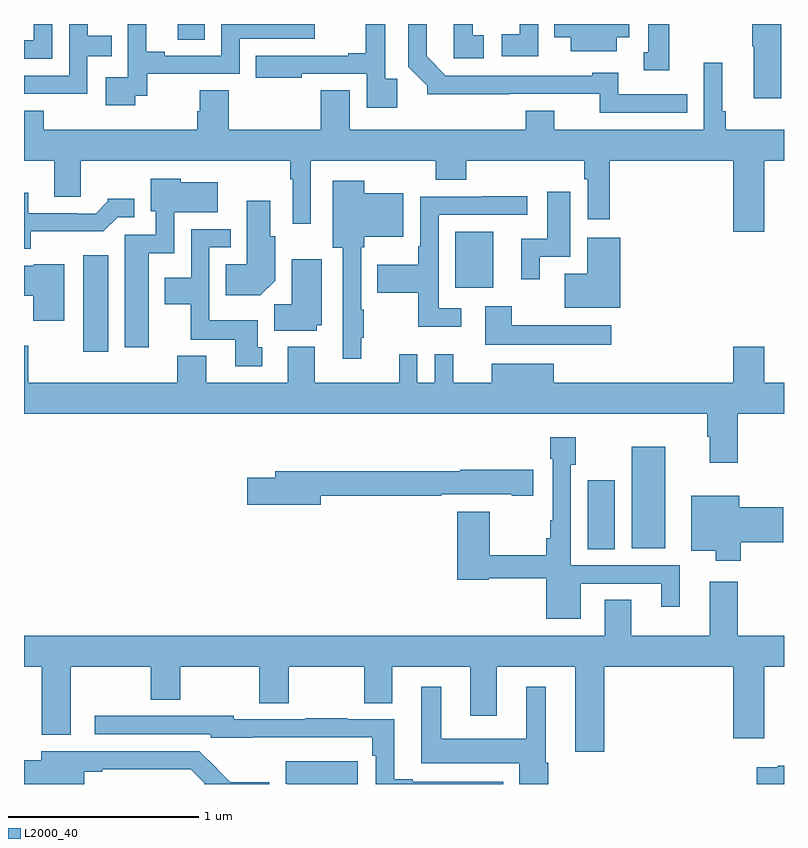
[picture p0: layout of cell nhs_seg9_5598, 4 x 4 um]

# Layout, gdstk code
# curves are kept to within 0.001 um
import gdstk
lib = gdstk.Library(unit=1e-6, precision=1e-09)
def R(c, l, rs):  # rectangles x0, y0, x1, y1
    for r in rs: c.add(gdstk.rectangle(r[:2], r[2:], *l))
def P(c, l, *ps):  # polygons
    for p in ps: c.add(gdstk.Polygon(p, *l))
L2000_40 = (2000, 40)

nhs_seg9_5598 = lib.new_cell('nhs_seg9_5598')
R(nhs_seg9_5598, L2000_40, [(439.967,1167.736,440.11,1168.099), (440.198,1167.74,440.374,1168.276), (437.312,1168.776,437.443,1169.284), (439.271,1169.111,439.471,1169.407), (437.81,1170.418,437.95,1170.5)])
P(nhs_seg9_5598, L2000_40, [(439.42,1170.441),(439.362,1170.441),(439.362,1170.5),(439.262,1170.5),(439.262,1170.321),(439.42,1170.321)],
  [(440.986,1170.5),(440.833,1170.5),(440.833,1170.382),(440.84,1170.382),(440.84,1170.108),(440.986,1170.108)],
  [(439.707,1170.5),(439.609,1170.5),(439.609,1170.446),(439.515,1170.446),(439.515,1170.33),(439.707,1170.33)],
  [(440.395,1170.5),(440.286,1170.5),(440.286,1170.351),(440.261,1170.351),(440.261,1170.257),(440.395,1170.257)],
  [(437.586,1170.123),(437.648,1170.123),(437.648,1170.237),(438.135,1170.237),(438.135,1170.423),(438.53,1170.423),(438.53,1170.5),(438.039,1170.5),(438.039,1170.333),(437.74,1170.333),(437.74,1170.353),(437.644,1170.353),(437.644,1170.5),(437.547,1170.5),(437.547,1170.219),(437.43,1170.219),(437.43,1170.072),(437.586,1170.072)],
  [(438.965,1170.211),(438.9,1170.211),(438.9,1170.5),(438.799,1170.5),(438.799,1170.346),(438.707,1170.346),(438.707,1170.333),(438.22,1170.333),(438.22,1170.218),(438.463,1170.218),(438.463,1170.237),(438.804,1170.237),(438.804,1170.06),(438.965,1170.06)],
  [(440.492,1170.129),(440.128,1170.129),(440.128,1170.244),(439.992,1170.244),(439.992,1170.228),(439.221,1170.228),(439.12,1170.329),(439.12,1170.5),(439.023,1170.5),(439.023,1170.274),(439.122,1170.175),(439.122,1170.131),(440.029,1170.132),(440.029,1170.033),(440.492,1170.033)],
  [(437.148,1170.5),(437.052,1170.5),(437.052,1170.414),(437,1170.414),(437,1170.318),(437.148,1170.318)],
  [(440.119,1170.431),(440.185,1170.431),(440.185,1170.5),(439.792,1170.5),(439.792,1170.431),(439.877,1170.431),(439.877,1170.356),(440.119,1170.356)],
  [(437.334,1170.33),(437.462,1170.33),(437.462,1170.439),(437.335,1170.439),(437.335,1170.5),(437.238,1170.5),(437.238,1170.228),(437,1170.228),(437,1170.132),(437.334,1170.132)],
  [(438.402,1169.684),(438.414,1169.684),(438.414,1169.448),(438.51,1169.448),(438.51,1169.78),(439.168,1169.78),(439.168,1169.681),(439.328,1169.681),(439.328,1169.78),(439.948,1169.78),(439.948,1169.684),(439.968,1169.684),(439.968,1169.472),(440.084,1169.472),(440.084,1169.78),(440.732,1169.78),(440.732,1169.406),(440.896,1169.406),(440.896,1169.78),(441,1169.78),(441,1169.944),(440.693,1169.944),(440.693,1170.04),(440.674,1170.04),(440.674,1170.295),(440.577,1170.295),(440.577,1169.944),(439.792,1169.944),(439.792,1170.043),(439.64,1170.043),(439.64,1169.944),(438.715,1169.944),(438.715,1170.152),(438.563,1170.152),(438.563,1169.944),(438.077,1169.944),(438.077,1170.152),(437.924,1170.152),(437.924,1170.042),(437.912,1170.042),(437.912,1169.944),(437.105,1169.944),(437.105,1170.043),(437,1170.043),(437,1169.78),(437.159,1169.78),(437.159,1169.59),(437.299,1169.59),(437.299,1169.78),(438.402,1169.78)],
  [(437.656,1169.294),(437.79,1169.294),(437.79,1169.51),(438.019,1169.51),(438.019,1169.668),(437.826,1169.668),(437.826,1169.686),(437.666,1169.686),(437.666,1169.514),(437.694,1169.514),(437.694,1169.391),(437.531,1169.391),(437.531,1168.8),(437.656,1168.8)],
  [(438.776,1168.849),(438.787,1168.849),(438.787,1168.997),(438.774,1168.997),(438.774,1169.325),(438.792,1169.325),(438.792,1169.381),(438.997,1169.381),(438.997,1169.608),(438.792,1169.608),(438.792,1169.674),(438.626,1169.674),(438.626,1169.323),(438.678,1169.323),(438.678,1168.737),(438.776,1168.737)],
  [(439.714,1169.274),(439.876,1169.274),(439.876,1169.617),(439.754,1169.617),(439.754,1169.37),(439.616,1169.37),(439.616,1169.157),(439.714,1169.157)],
  [(437.036,1169.408),(437.417,1169.408),(437.493,1169.484),(437.581,1169.484),(437.581,1169.581),(437.442,1169.581),(437.442,1169.566),(437.378,1169.502),(437.279,1169.502),(437.279,1169.505),(437.023,1169.505),(437.023,1169.611),(437,1169.611),(437,1169.316),(437.036,1169.316)],
  [(439.3,1169.004),(439.182,1169.004),(439.182,1169.496),(439.648,1169.496),(439.648,1169.594),(439.411,1169.594),(439.411,1169.592),(439.086,1169.592),(439.086,1169.329),(439.074,1169.329),(439.074,1169.233),(438.859,1169.233),(438.859,1169.086),(439.074,1169.086),(439.074,1168.907),(439.3,1168.907)],
  [(438.322,1169.15),(438.322,1169.382),(438.295,1169.382),(438.295,1169.569),(438.173,1169.569),(438.173,1169.236),(438.061,1169.236),(438.061,1169.072),(438.244,1169.072)],
  [(438.253,1168.8),(438.229,1168.8),(438.229,1168.942),(437.976,1168.942),(437.976,1169.325),(438.088,1169.325),(438.088,1169.421),(437.88,1169.421),(437.88,1169.164),(437.741,1169.164),(437.741,1169.024),(437.878,1169.024),(437.878,1168.838),(438.113,1168.838),(438.113,1168.698),(438.253,1168.698)],
  [(440.137,1169.374),(439.964,1169.374),(439.964,1169.185),(439.847,1169.185),(439.847,1169.006),(440.137,1169.006)],
  [(438.54,1168.914),(438.568,1168.914),(438.568,1169.15),(438.567,1169.15),(438.567,1169.263),(438.41,1169.263),(438.41,1169.024),(438.317,1169.024),(438.317,1168.886),(438.54,1168.886)],
  [(437.212,1169.236),(437.052,1169.236),(437.052,1169.227),(437,1169.227),(437,1169.069),(437.048,1169.069),(437.048,1168.938),(437.212,1168.938)],
  [(440.092,1168.915),(439.567,1168.915),(439.567,1169.014),(439.427,1169.014),(439.427,1168.811),(440.092,1168.811)],
  [(440.757,1168.448),(441,1168.448),(441,1168.612),(440.896,1168.612),(440.896,1168.801),(440.732,1168.801),(440.732,1168.612),(439.789,1168.612),(439.789,1168.711),(439.463,1168.711),(439.463,1168.612),(439.259,1168.612),(439.259,1168.762),(439.161,1168.762),(439.161,1168.612),(439.071,1168.612),(439.071,1168.762),(438.974,1168.762),(438.974,1168.612),(438.529,1168.612),(438.529,1168.801),(438.389,1168.801),(438.389,1168.612),(437.959,1168.612),(437.959,1168.753),(437.807,1168.753),(437.807,1168.612),(437.023,1168.612),(437.023,1168.807),(437,1168.807),(437,1168.448),(440.597,1168.448),(440.597,1168.328),(440.609,1168.328),(440.609,1168.191),(440.757,1168.191)],
  [(439.93,1167.555),(440.354,1167.555),(440.354,1167.432),(440.452,1167.432),(440.452,1167.651),(439.878,1167.651),(439.878,1168.179),(439.905,1168.179),(439.905,1168.324),(439.77,1168.324),(439.77,1168.211),(439.782,1168.211),(439.782,1167.889),(439.77,1167.889),(439.77,1167.793),(439.748,1167.793),(439.748,1167.703),(439.45,1167.703),(439.45,1167.934),(439.28,1167.934),(439.28,1167.574),(439.446,1167.574),(439.446,1167.582),(439.748,1167.582),(439.748,1167.371),(439.93,1167.371)],
  [(438.562,1168.018),(439.196,1168.018),(439.196,1168.025),(439.568,1168.025),(439.568,1168.018),(439.681,1168.018),(439.681,1168.155),(439.296,1168.155),(439.296,1168.147),(438.323,1168.147),(438.323,1168.113),(438.174,1168.113),(438.174,1167.971),(438.562,1167.971)],
  [(440.772,1167.773),(440.995,1167.773),(440.995,1167.956),(440.764,1167.956),(440.764,1168.018),(440.513,1168.018),(440.513,1167.728),(440.642,1167.728),(440.642,1167.674),(440.772,1167.674)],
  [(440.054,1167.116),(440.732,1167.116),(440.732,1166.742),(440.896,1166.742),(440.896,1167.116),(441,1167.116),(441,1167.28),(440.757,1167.28),(440.757,1167.565),(440.609,1167.565),(440.609,1167.28),(440.197,1167.28),(440.197,1167.47),(440.057,1167.47),(440.057,1167.28),(437,1167.28),(437,1167.116),(437.093,1167.116),(437.093,1166.759),(437.245,1166.759),(437.245,1167.116),(437.668,1167.116),(437.668,1166.944),(437.823,1166.944),(437.823,1167.116),(438.238,1167.116),(438.238,1166.926),(438.393,1166.926),(438.393,1167.116),(438.79,1167.116),(438.79,1166.926),(438.937,1166.926),(438.937,1167.116),(439.349,1167.116),(439.349,1166.859),(439.489,1166.859),(439.489,1167.116),(439.901,1167.116),(439.901,1166.67),(440.054,1166.67)],
  [(439.76,1166.613),(439.747,1166.613),(439.747,1167.013),(439.643,1167.013),(439.643,1166.737),(439.195,1166.737),(439.195,1167.013),(439.091,1167.013),(439.091,1166.609),(439.607,1166.609),(439.607,1166.5),(439.76,1166.5)],
  [(439.522,1166.511),(439.045,1166.511),(439.045,1166.524),(438.949,1166.524),(438.949,1166.841),(438.701,1166.841),(438.701,1166.846),(438.481,1166.846),(438.481,1166.841),(438.105,1166.841),(438.105,1166.859),(437.373,1166.859),(437.373,1166.763),(437.982,1166.763),(437.982,1166.744),(438.205,1166.744),(438.205,1166.745),(438.833,1166.745),(438.833,1166.648),(438.852,1166.648),(438.852,1166.5),(439.522,1166.5)],
  [(437.317,1166.565),(437.413,1166.565),(437.413,1166.577),(437.877,1166.577),(437.95,1166.504),(437.948,1166.502),(437.95,1166.5),(438.292,1166.5),(438.292,1166.508),(438.086,1166.508),(437.923,1166.673),(437.09,1166.673),(437.09,1166.624),(437,1166.624),(437,1166.5),(437.317,1166.5)],
  [(438.757,1166.62),(438.377,1166.62),(438.377,1166.502),(438.386,1166.502),(438.386,1166.5),(438.757,1166.5)],
  [(441,1166.597),(440.968,1166.597),(440.968,1166.587),(440.856,1166.587),(440.856,1166.5),(441,1166.5)])

lib.write_gds('nhs_seg9_5598.gds')
